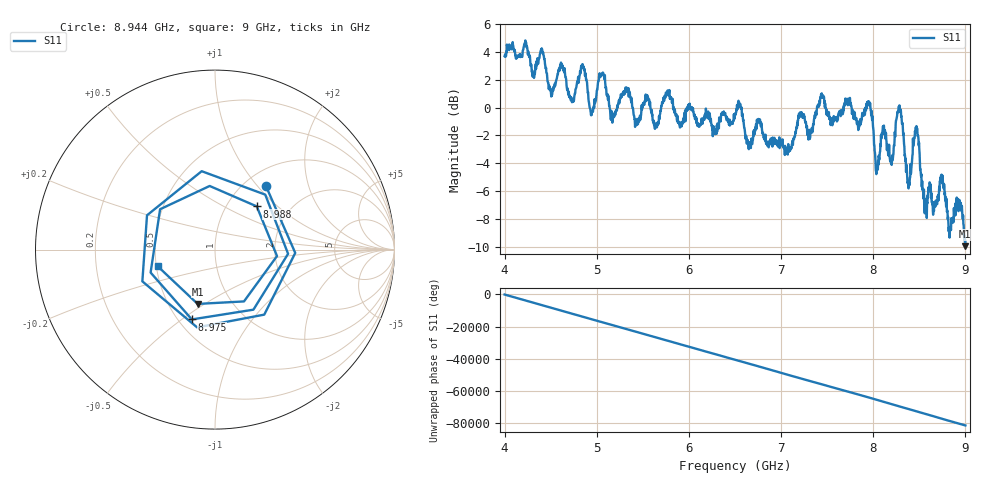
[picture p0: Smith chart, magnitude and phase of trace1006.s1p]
! Created with skrf 1.8.0 (http://scikit-rf.org).
# Hz S RI R 50.0
!freq ReS11 ImS11
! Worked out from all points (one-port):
!   1601 points, 4 GHz to 9 GHz, reference 50 ohm
!   lowest |S11| = -10.0 dB at 8.997 GHz (marker M1), VSWR 1.93, Z = 34.7 - j23.4 ohm
!   |S11| at or under -10 dB: nowhere
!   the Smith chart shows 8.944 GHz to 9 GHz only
!   S11 on the Smith chart (normalised r, x): 8.944 GHz: 1.24, +1.11; 8.975 GHz: 0.58, -0.55; 8.988 GHz: 1.37, +0.74; 9 GHz: 0.51, -0.11
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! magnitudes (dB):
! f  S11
! 4 GHz  3.7
! 4.406 GHz  4.2
! 4.503 GHz  1.0
! 4.625 GHz  2.9
! 4.728 GHz  0.6
! 4.844 GHz  2.9
! 4.941 GHz  -0.4
! 5.05 GHz  2.3
! 5.162 GHz  -0.9
! 5.25 GHz  0.6
! 5.875 GHz  -0.9
! 6.5 GHz  -0.4
! 7.125 GHz  -2.4
! 7.441 GHz  1.0
! 7.75 GHz  0.5
! 7.959 GHz  0.4
! 8.044 GHz  -4.5
! 8.112 GHz  -1.4
! 8.203 GHz  -3.9
! 8.284 GHz  0.2
! 8.375 GHz  -5.4
! 8.466 GHz  -1.6
! 8.562 GHz  -6.6
! 8.944 GHz  -6.8
! 8.975 GHz  -7.7
! 8.988 GHz  -9.5
! 8.997 GHz  -10.0
! 9 GHz  -9.6
